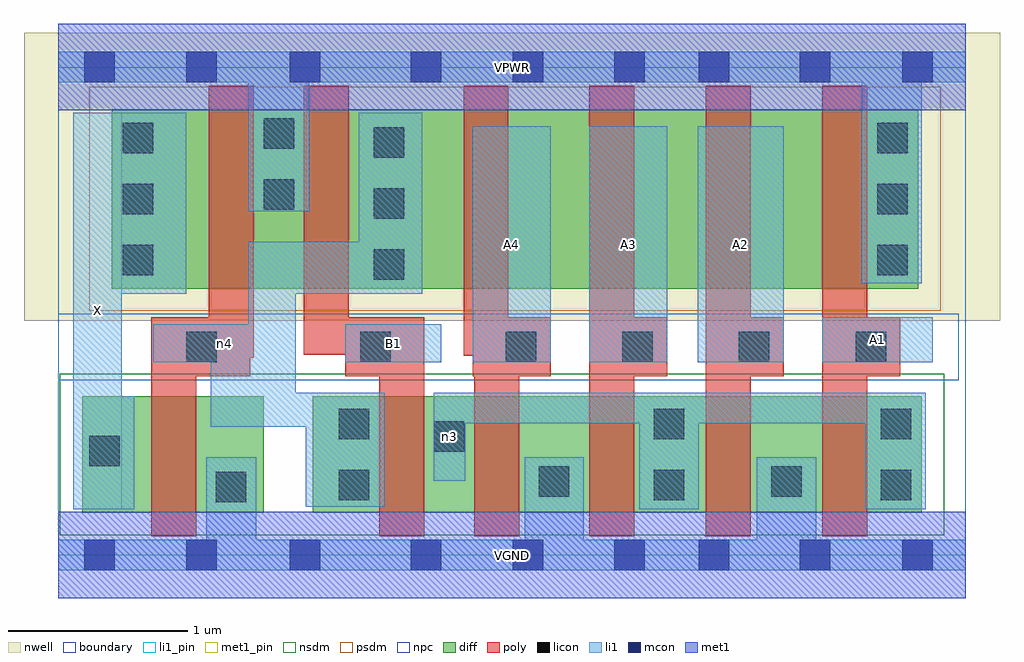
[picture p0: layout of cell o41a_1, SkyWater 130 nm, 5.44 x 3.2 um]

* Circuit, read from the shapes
.subckt o41a_1 A1 A2 A3 A4 B1 VGND VPWR X n3 n4
XM1 VGND n4 X VSUBS sky130_fd_pr__nfet_01v8 w=0.65 l=0.25
XM2 n3 B1 n4 VSUBS sky130_fd_pr__nfet_01v8 w=0.65 l=0.25
XM3 VGND A4 n3 VSUBS sky130_fd_pr__nfet_01v8 w=0.65 l=0.25
XM4 n3 A3 VGND VSUBS sky130_fd_pr__nfet_01v8 w=0.65 l=0.25
XM5 VGND A2 n3 VSUBS sky130_fd_pr__nfet_01v8 w=0.65 l=0.25
XM6 n3 A1 VGND VSUBS sky130_fd_pr__nfet_01v8 w=0.65 l=0.25
XM7 VPWR n4 X n1 sky130_fd_pr__pfet_01v8 w=1 l=0.25
XM8 n4 B1 VPWR n1 sky130_fd_pr__pfet_01v8 w=1 l=0.25
XM9 n2 A4 n4 n1 sky130_fd_pr__pfet_01v8 w=1 l=0.25
XM10 n5 A3 n2 n1 sky130_fd_pr__pfet_01v8 w=1 l=0.25
XM11 n6 A2 n5 n1 sky130_fd_pr__pfet_01v8 w=1 l=0.25
XM12 VPWR A1 n6 n1 sky130_fd_pr__pfet_01v8 w=1 l=0.25
.ends

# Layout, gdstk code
import gdstk
lib = gdstk.Library(unit=1e-6, precision=1e-09)
def R(c, l, rs):  # rectangles x0, y0, x1, y1
    for r in rs: c.add(gdstk.rectangle(r[:2], r[2:], *l))
def A(c, l, x, y, w, h, nx, ny, dx, dy):  # array of equal rectangles
    R(c, l, [(x+i*dx, y+j*dy, x+i*dx+w, y+j*dy+h) for i in range(nx) for j in range(ny)])
nwell = (64, 20)
diff = (65, 20)
poly = (66, 20)
licon = (66, 44)
li1_pin = (67, 16)
li1 = (67, 20)
mcon = (67, 44)
met1_pin = (68, 16)
met1 = (68, 20)
nsdm = (93, 44)
psdm = (94, 20)
npc = (95, 20)
boundary = (235, 4)

o41a_1 = lib.new_cell('o41a_1')
R(o41a_1, nwell, [(-0.19,1.305,5.25,2.91), (0,1.305,5.06,2.91)])
R(o41a_1, diff, [(0.135,0.235,1.145,0.885), (1.42,0.235,4.815,0.885), (0.3,1.485,4.795,2.485)])
A(o41a_1, poly, 2.96, 0.105, 0.25, 2.51, 3, 1, 0.65, 0)
A(o41a_1, poly, 2.31, 0.995, 0.435, 0.33, 4, 1, 0.65, 0)
R(o41a_1, poly, [(0.52,0.105,0.77,1.325), (1.79,0.105,2.04,1.325), (2.32,0.105,2.57,1.325), (0.52,0.995,1.07,1.325), (1.6,0.995,2.04,1.325), (0.84,1.1,1.09,2.615), (2.26,1.11,2.51,2.615), (1.37,1.115,1.62,2.615)])
A(o41a_1, licon, 2.495, 1.075, 0.17, 0.17, 4, 1, 0.65, 0)
A(o41a_1, licon, 1.76, 1.535, 0.17, 0.17, 1, 3, 0, 0.34)
A(o41a_1, licon, 0.36, 1.56, 0.17, 0.17, 1, 3, 0, 0.34)
A(o41a_1, licon, 4.565, 1.56, 0.17, 0.17, 1, 3, 0, 0.34)
R(o41a_1, licon, [(0.88,0.295,1.05,0.465), (1.565,0.305,1.735,0.475), (3.32,0.305,3.49,0.475), (4.585,0.305,4.755,0.475), (2.68,0.325,2.85,0.495), (3.975,0.325,4.145,0.495), (0.175,0.495,0.345,0.665), (2.095,0.575,2.265,0.745), (1.565,0.645,1.735,0.815), (3.32,0.645,3.49,0.815), (4.585,0.645,4.755,0.815), (0.715,1.075,0.885,1.245), (1.685,1.075,1.855,1.245), (1.145,1.925,1.315,2.095), (1.145,2.265,1.315,2.435)])
R(o41a_1, li1_pin, [(0.085,0.255,0.355,2.465), (1.6,1.075,2.135,1.285), (2.31,1.075,2.745,2.39), (2.96,1.075,3.395,2.39), (3.565,1.075,4.045,2.39), (4.26,1.075,4.875,1.325)])
R(o41a_1, li1, [(0,-0.085,5.06,0.085), (0.825,-0.085,1.105,0.545), (2.6,-0.085,2.93,0.545), (3.895,-0.085,4.225,0.545), (0.085,0.255,0.355,2.465), (0.085,0.255,0.425,0.885), (3.24,0.255,3.57,0.905), (4.5,0.255,4.835,0.905), (1.38,0.27,1.82,0.905), (2.095,0.415,2.27,0.905), (0.85,0.715,1.325,1.285), (0.85,0.715,1.82,0.905), (1.06,0.715,1.325,1.745), (2.095,0.735,4.835,0.905), (0.53,1.075,1.325,1.285), (1.6,1.075,2.135,1.285), (2.31,1.075,2.745,2.39), (2.96,1.075,3.395,2.39), (3.565,1.075,4.045,2.39), (4.26,1.075,4.875,1.325), (0.085,1.455,0.715,2.465), (1.06,1.455,2.03,1.745), (1.675,1.455,2.03,2.465), (4.48,1.515,4.815,2.805), (1.06,1.915,1.4,2.805), (0,2.635,5.06,2.805)])
R(o41a_1, mcon, [(0.145,-0.085,0.315,0.085), (0.715,-0.085,0.885,0.085), (1.29,-0.085,1.46,0.085), (1.965,-0.085,2.135,0.085), (2.535,-0.085,2.705,0.085), (3.1,-0.085,3.27,0.085), (3.57,-0.085,3.74,0.085), (4.135,-0.085,4.305,0.085), (4.705,-0.085,4.875,0.085), (0.145,2.635,0.315,2.805), (0.715,2.635,0.885,2.805), (1.29,2.635,1.46,2.805), (1.965,2.635,2.135,2.805), (2.535,2.635,2.705,2.805), (3.1,2.635,3.27,2.805), (3.57,2.635,3.74,2.805), (4.135,2.635,4.305,2.805), (4.705,2.635,4.875,2.805)])
R(o41a_1, met1_pin, [(0,-0.24,5.06,0.24), (0,2.48,5.06,2.96)])
R(o41a_1, met1, [(0,-0.24,5.06,0.24), (0,2.48,5.06,2.96)])
R(o41a_1, nsdm, [(0.01,0.11,4.94,1.01)])
R(o41a_1, psdm, [(0.175,1.36,4.92,2.61)])
R(o41a_1, npc, [(0,0.975,5.02,1.345)])
R(o41a_1, boundary, [(0,0,5.06,2.72)])
o41a_1.add(gdstk.Label('A1', (4.567,1.2), layer=67, texttype=5))
o41a_1.add(gdstk.Label('A2', (3.805,1.732), layer=67, texttype=5))
o41a_1.add(gdstk.Label('A3', (3.177,1.732), layer=67, texttype=5))
o41a_1.add(gdstk.Label('A4', (2.527,1.732), layer=67, texttype=5))
o41a_1.add(gdstk.Label('B1', (1.867,1.18), layer=67, texttype=5))
o41a_1.add(gdstk.Label('X', (0.22,1.36), layer=67, texttype=5))
o41a_1.add(gdstk.Label('n3', (2.182,0.66), layer=67, texttype=5))
o41a_1.add(gdstk.Label('n4', (0.927,1.18), layer=67, texttype=5))
o41a_1.add(gdstk.Label('VPWR', (2.53,2.72), layer=68, texttype=5))
o41a_1.add(gdstk.Label('VGND', (2.53,0), layer=68, texttype=5))
o41a_1.add(gdstk.Label('A1', (4.567,1.2), layer=67, texttype=16))
o41a_1.add(gdstk.Label('A2', (3.805,1.732), layer=67, texttype=16))
o41a_1.add(gdstk.Label('A3', (3.177,1.732), layer=67, texttype=16))
o41a_1.add(gdstk.Label('A4', (2.527,1.732), layer=67, texttype=16))
o41a_1.add(gdstk.Label('B1', (1.867,1.18), layer=67, texttype=16))
o41a_1.add(gdstk.Label('X', (0.22,1.36), layer=67, texttype=16))
o41a_1.add(gdstk.Label('VPWR', (2.53,2.72), layer=68, texttype=16))
o41a_1.add(gdstk.Label('VGND', (2.53,0), layer=68, texttype=16))

lib.write_gds('o41a_1.gds')
